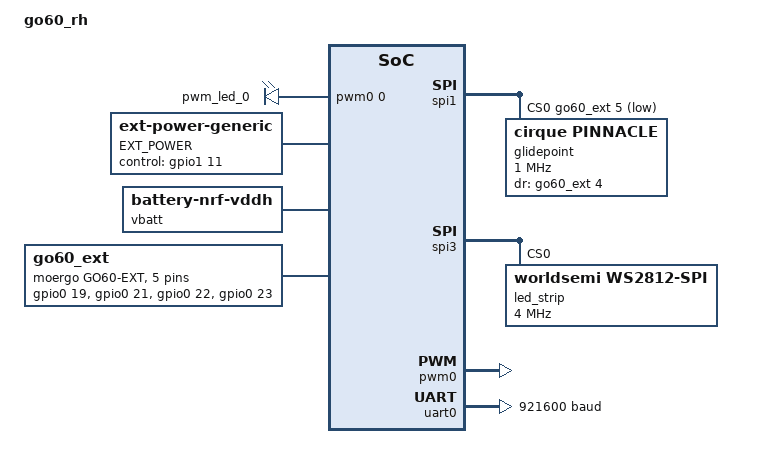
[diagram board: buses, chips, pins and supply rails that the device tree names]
/*
 * Copyright (c) 2021 The ZMK Contributors
 *
 * SPDX-License-Identifier: MIT
 */


#include "go60.dtsi"
#include "go60_rh-pinctrl.dtsi"

#include <dt-bindings/led/led.h>

/ {
    model = "go60_rh";
    compatible = "go60_rh";

    chosen {
        zmk,underglow = &led_strip;
        zmk,backlight = &back_led_backlight;
        zmk,battery   = &vbatt;
    };

    back_led_backlight: pwmleds {
        compatible = "pwm-leds";
        pwm_led_0 {
            pwms = <&pwm0 0 PWM_USEC(20) PWM_POLARITY_NORMAL>;
        };
    };

    // Node name must match original "EXT_POWER" label to preserve user settings.
    EXT_POWER {
        compatible = "zmk,ext-power-generic";
        control-gpios = <&gpio1 11 GPIO_ACTIVE_HIGH>; /* WS2812_CE */
        init-delay-ms = <100>;
    };

    vbatt: vbatt {
        compatible = "zmk,battery-nrf-vddh";
    };

    go60_ext: connector {
        compatible = "moergo,go60-ext";
        #gpio-cells = <2>;
        gpio-map-mask = <0xffffffff 0xffffffc0>;
        gpio-map-pass-thru = <0 0x3f>;
        gpio-map
            = <1 0 &gpio0 19 0> /* EXT1 */
            , <2 0 &gpio0 21 0> /* EXT2 */
            , <3 0 &gpio0 22 0> /* EXT3 */
            , <4 0 &gpio0 23 0> /* EXT4 */
            , <5 0 &gpio0 25 0> /* EXT5 */
            ;
    };
    inputs {
        #address-cells = <1>;
        #size-cells = <0>;
        cirque_split: cirque_split@0 {
            compatible = "zmk,input-split";
            reg = <0>;
            device = <&glidepoint>;
        };
    };

    // Disabled input listeners for the Cirques, to permit references in the keymap
    cirque_lh_listener: cirque_lh_listener {
        compatible = "zmk,input-listener";
        status = "disabled";
    };

    cirque_rh_listener: cirque_rh_listener {
        compatible = "zmk,input-listener";
        status = "disabled";
    };
};

&spi1 {
    status = "okay";

    compatible = "nordic,nrf-spim";
    pinctrl-0 = <&spi1_default>;
    pinctrl-1 = <&spi1_sleep>;
    pinctrl-names = "default", "sleep";

    cs-gpios = <&go60_ext 5 GPIO_ACTIVE_LOW>;

    glidepoint: glidepoint@0 {
        compatible = "cirque,pinnacle";
        reg = <0>;
        spi-max-frequency = <1000000>;
        status = "okay";
        dr-gpios = <&go60_ext 4 (GPIO_ACTIVE_HIGH | GPIO_PULL_DOWN)>;

        sensitivity = "1x";
        rotate-90;
        y-invert;
        no-secondary-tap;
    };
};

&spi3 {
    compatible = "nordic,nrf-spim";
    status = "okay";

    pinctrl-0 = <&spi3_default>;
    pinctrl-1 = <&spi3_sleep>;
    pinctrl-names = "default", "sleep";

    led_strip: ws2812@0 {
        compatible = "worldsemi,ws2812-spi";

        /* SPI */
        reg = <0>; /* ignored, but necessary for SPI bindings */
        spi-max-frequency = <4000000>;

        /* WS2812 */
        chain-length = <30>;
        spi-one-frame = <0x70>;
        spi-zero-frame = <0x40>;

        color-mapping = <LED_COLOR_ID_GREEN LED_COLOR_ID_RED LED_COLOR_ID_BLUE>;
    };
};

&pwm0 {
    status = "okay";
    pinctrl-0 = <&pwm0_default>;
    pinctrl-1 = <&pwm0_sleep>;
    pinctrl-names = "default", "sleep";
};


&uart0 {
    status = "okay";
    compatible = "nordic,nrf-uarte";
    // Max stable speed with half duplex on nRF52
    current-speed = <921600>;
    /* current-speed = <460800>; */
    /* current-speed = <230400>; */
    pinctrl-0 = <&uart0_default>;
    pinctrl-1 = <&uart0_sleep>;
    pinctrl-names = "default", "sleep";
};

/* For right hand, the columns are offset by 7 */
&matrix_transform0 {
    col-offset = <7>;
};

&kscan0 {
    row-gpios
        = <&gpio1 1 GPIO_ACTIVE_HIGH> // LH ROW1 (KEYSCAN_OUT1)
        , <&gpio1 3 GPIO_ACTIVE_HIGH> // LH ROW2 (KEYSCAN_OUT2)
        , <&gpio1 5 GPIO_ACTIVE_HIGH> // LH ROW3 (KEYSCAN_OUT3)
        , <&gpio1 7 GPIO_ACTIVE_HIGH> // LH ROW4 (KEYSCAN_OUT4)
        , <&gpio1 6 GPIO_ACTIVE_HIGH> // LH ROW5 (KEYSCAN_OUT5)
        ;
    col-gpios
        = <&gpio0 14 (GPIO_ACTIVE_HIGH | GPIO_PULL_DOWN)> // RH Thumb (KEYSCAN_IN1)
        , <&gpio0 13 (GPIO_ACTIVE_HIGH | GPIO_PULL_DOWN)> // RH COL1  (KEYSCAN_IN2)
        , <&gpio0 16 (GPIO_ACTIVE_HIGH | GPIO_PULL_DOWN)> // RH COL2  (KEYSCAN_IN3)
        , <&gpio0 15 (GPIO_ACTIVE_HIGH | GPIO_PULL_DOWN)> // RH COL3  (KEYSCAN_IN4)
        , <&gpio0 17 (GPIO_ACTIVE_HIGH | GPIO_PULL_DOWN)> // RH COL4  (KEYSCAN_IN5)
        , <&gpio0 20 (GPIO_ACTIVE_HIGH | GPIO_PULL_DOWN)> // RH COL5  (KEYSCAN_IN6)
        , <&gpio0 24 (GPIO_ACTIVE_HIGH | GPIO_PULL_DOWN)> // RH COL6  (KEYSCAN_IN7)
        ;
};
